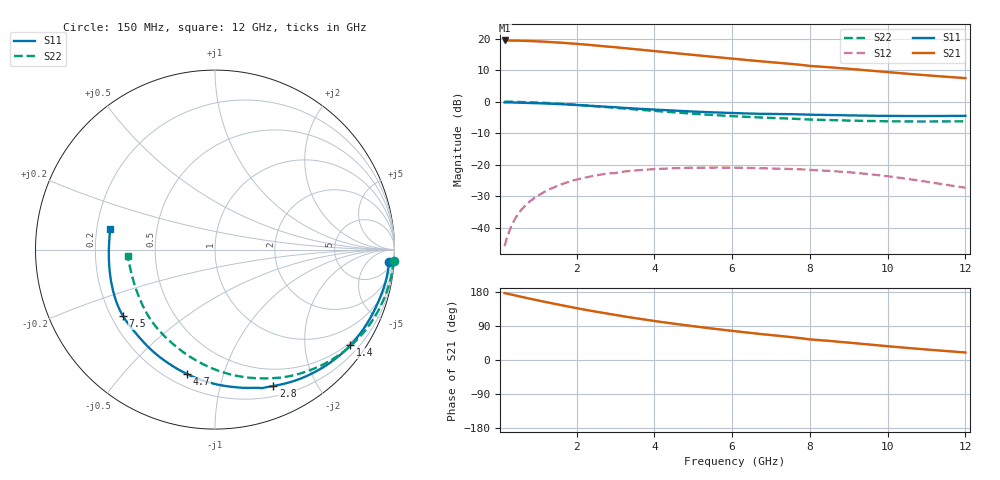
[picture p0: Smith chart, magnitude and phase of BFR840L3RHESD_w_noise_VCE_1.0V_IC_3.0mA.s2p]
! Infineon Technologies  Discrete & RF Semiconductors
! BFR840L3RHESD
! VCE =  1.0 V,  IC =  3.0 mA
! Common Emitter S-Parameters:  Jun 2012
# GHz  S  MA  R  50
!  f  S11  S21  S12  S22
! GHz  MAG  ANG  MAG  ANG  MAG  ANG  MAG  ANG
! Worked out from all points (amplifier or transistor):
!   91 points, 150 MHz to 12 GHz, reference 50 ohm
!   highest |S21| = 19.4 dB at 150 MHz (marker M1)
!   |S21| within 3 dB of that: start of sweep to 3.7 GHz
!   unconditionally stable (mu >= 1): 9.719 GHz to end of sweep
!   at 1.3 GHz: K = 0.07, MSG = 23.4 dB, |S12| = -27.9 dB
!   at 4.3 GHz: K = 0.24, MSG = 18.4 dB, |S12| = -21.2 dB
!   at 12 GHz: K = 2.18, MAG = 11.2 dB, |S12| = -27.3 dB
!   lowest NFmin = 0.41 dB at 450 MHz
!   S11 on the Smith chart (normalised r, x): 150 MHz: 10, -24; 1.4 GHz: 0.43, -3.09; 2.8 GHz: 0.31, -1.47; 4.7 GHz: 0.27, -0.76; 7.5 GHz: 0.25, -0.30; 12 GHz: 0.26, +0.09
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0.15  0.9714 -4.1  9.33 176.6  0.0051 87.7  0.9978 -3.6
0.4  0.9672 -10.6  9.279 170.9  0.0132 81.4  0.9922 -9.5
0.7  0.9548 -18.1  9.173 164.1  0.0231 74.6  0.9803 -16.4
1.1  0.9381 -28.0  8.962 155.3  0.0349 67.9  0.9592 -25.3
1.4  0.9234 -35.3  8.75 149.0  0.0432 63.0  0.9391 -31.9
1.8  0.8982 -44.8  8.42 140.8  0.0536 56.3  0.9069 -40.4
2.2  0.87 -54.1  8.054 133.0  0.062 49.3  0.8708 -48.5
2.4  0.8557 -58.5  7.857 129.3  0.0657 45.9  0.8524 -52.4
2.8  0.8266 -66.8  7.458 122.3  0.0723 40.2  0.8163 -59.9
3  0.8151 -71.2  7.292 118.8  0.0736 37.9  0.7981 -63.4
3.4  0.784 -79.0  6.886 112.2  0.0797 32.3  0.7612 -70.5
4.2  0.737 -93.9  6.156 100.1  0.0862 22.4  0.6977 -83.6
4.7  0.7109 -102.6  5.737 93.2  0.0885 17.1  0.6625 -91.2
5.3  0.6839 -112.5  5.284 85.4  0.0898 11.0  0.6251 -100.0
6.1  0.6568 -124.8  4.742 75.7  0.0895 3.6  0.5847 -111.1
6.8  0.6401 -134.8  4.327 67.9  0.0875 -1.7  0.5579 -120.4
7.5  0.6319 -144.3  3.971 60.6  0.0855 -6.8  0.5371 -129.3
8  0.6209 -152.8  3.681 54.3  0.0826 -11.9  0.5198 -137.1
8.5  0.6129 -157.9  3.504 50.4  0.0797 -15.2  0.51 -141.9
9.5  0.5986 -168.9  3.121 41.1  0.071 -22.2  0.4931 -152.6
10.5  0.5916 -179.0  2.767 31.9  0.0597 -27.8  0.4845 -162.9
12  0.5952 169.0  2.358 19.8  0.0431 -27.9  0.4883 -175.6
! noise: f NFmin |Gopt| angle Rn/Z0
0.45  0.41  0.69  8  0.22
0.9  0.45  0.67  12  0.22
1.9  0.5  0.62  28  0.21
3.5  0.53  0.64  46  0.19
4  0.56  0.64  54  0.18
5.5  0.62  0.65  72  0.16
7  0.71  0.6  92  0.14
8  0.79  0.58  101  0.13
10  0.93  0.51  122  0.1
12  1.11  0.43  154  0.07
